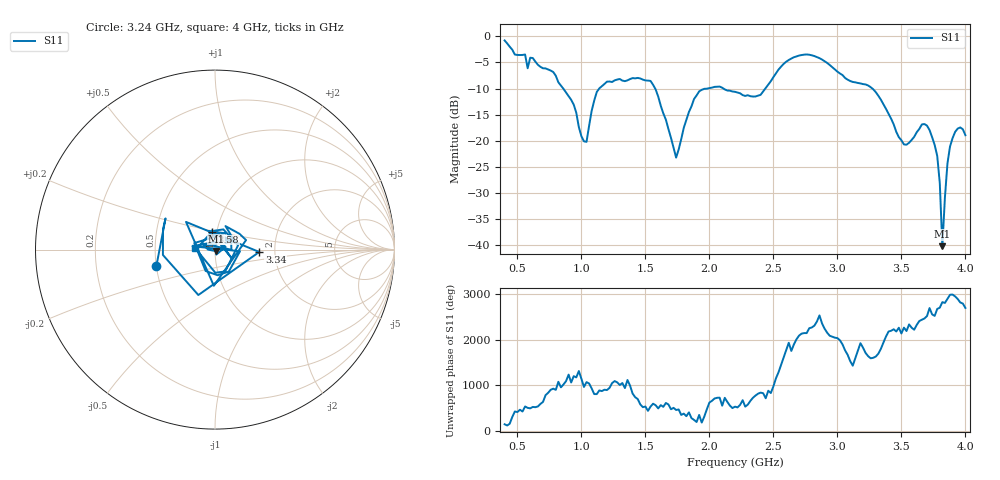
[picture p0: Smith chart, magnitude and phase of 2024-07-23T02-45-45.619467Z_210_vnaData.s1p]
!Created with skrf (http://scikit-rf.org).
# Hz S RI R 50.0
!freq ReS11 ImS11
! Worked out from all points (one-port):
!   181 points, 400 MHz to 4 GHz, reference 50 ohm
!   lowest |S11| = -40.1 dB at 3.82 GHz (marker M1), VSWR 1.02, Z = 50.5 - j0.845 ohm
!   |S11| at or under -10 dB: 1.576 GHz to 1.986 GHz (410.1 MHz wide, 23 % of centre); 2.109 GHz to 2.437 GHz (328.1 MHz wide, 14.4 % of centre); 3.273 GHz to end of sweep (the widest 3 of 4)
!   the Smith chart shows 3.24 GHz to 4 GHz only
!   S11 on the Smith chart (normalised r, x): 3.24 GHz: 0.50, -0.10; 3.34 GHz: 1.65, -0.05; 3.58 GHz: 0.95, +0.19; 4 GHz: 0.80, +0.02
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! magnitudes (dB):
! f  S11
! 400 MHz  -0.8
! 580 MHz  -6.1
! 860 MHz  -10.1
! 1.04 GHz  -20.2
! 1.12 GHz  -10.7
! 1.3 GHz  -8.2
! 1.54 GHz  -8.5
! 1.74 GHz  -23.2
! 1.76 GHz  -21.6
! 1.92 GHz  -10.5
! 2.2 GHz  -10.6
! 2.4 GHz  -11.2
! 2.66 GHz  -4.0
! 2.86 GHz  -4.2
! 3.1 GHz  -8.6
! 3.24 GHz  -9.4
! 3.34 GHz  -12.1
! 3.48 GHz  -19.3
! 3.56 GHz  -20.4
! 3.58 GHz  -19.8
! 3.68 GHz  -16.8
! 3.76 GHz  -20.8
! 3.8 GHz  -28.1
! 3.82 GHz  -40.1
! 3.86 GHz  -24.3
! 3.88 GHz  -21.1
! 3.94 GHz  -17.7
! 4 GHz  -18.9
